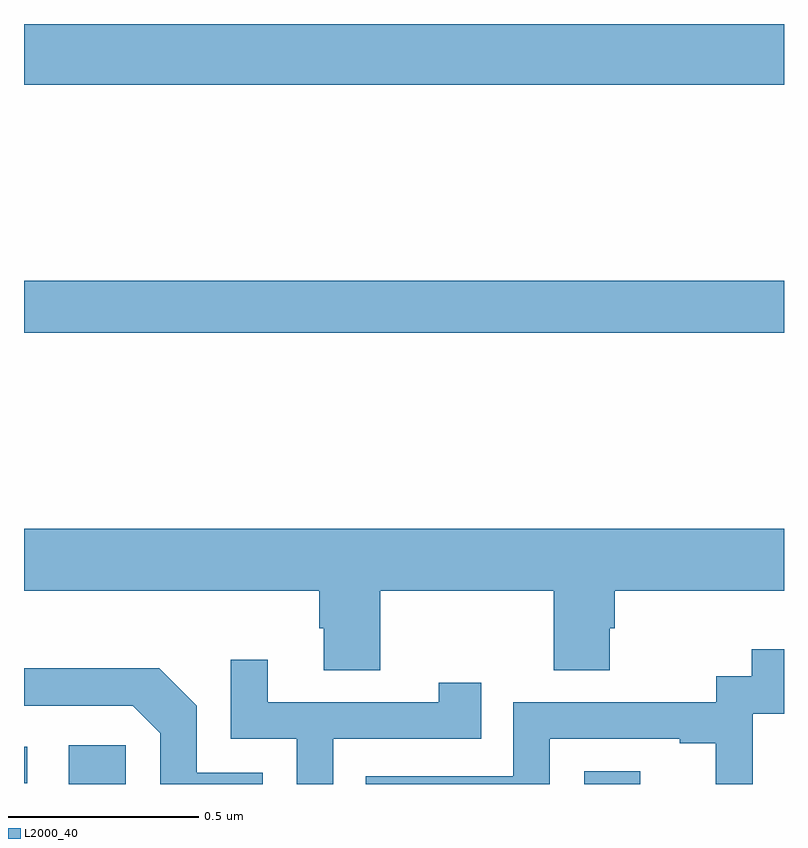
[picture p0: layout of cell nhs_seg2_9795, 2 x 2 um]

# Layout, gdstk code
import gdstk
lib = gdstk.Library(unit=1e-6, precision=1e-09)
def R(c, l, rs):  # rectangles x0, y0, x1, y1
    for r in rs: c.add(gdstk.rectangle(r[:2], r[2:], *l))
def P(c, l, *ps):  # polygons
    for p in ps: c.add(gdstk.Polygon(p, *l))
L2000_40 = (2000, 40)

nhs_seg2_9795 = lib.new_cell('nhs_seg2_9795')
R(nhs_seg2_9795, L2000_40, [(233.118,641.8,233.268,641.902), (234.474,641.8,234.622,641.833), (233,641.802,233.008,641.898), (233,642.988,235,643.124), (233,643.64,235,643.8)])
P(nhs_seg2_9795, L2000_40, [(233.937,642.308),(234.394,642.308),(234.394,642.1),(234.541,642.1),(234.541,642.21),(234.554,642.21),(234.554,642.308),(235,642.308),(235,642.472),(233,642.472),(233,642.308),(233.777,642.308),(233.777,642.21),(233.789,642.21),(233.789,642.1),(233.937,642.1)],
  [(234.384,641.919),(234.725,641.919),(234.725,641.907),(234.821,641.907),(234.821,641.8),(234.918,641.8),(234.918,641.985),(235,641.985),(235,642.154),(234.915,642.154),(234.915,642.084),(234.822,642.084),(234.822,642.015),(234.288,642.015),(234.288,641.82),(233.899,641.82),(233.899,641.8),(234.384,641.8)],
  [(233.814,641.919),(234.203,641.919),(234.203,642.067),(234.092,642.067),(234.092,642.015),(233.641,642.015),(233.641,642.127),(233.544,642.127),(233.544,641.919),(233.718,641.919),(233.718,641.8),(233.814,641.8)],
  [(233.628,641.829),(233.454,641.829),(233.454,642.006),(233.356,642.104),(233,642.104),(233,642.006),(233.286,642.006),(233.358,641.934),(233.358,641.8),(233.628,641.8)])

lib.write_gds('nhs_seg2_9795.gds')
